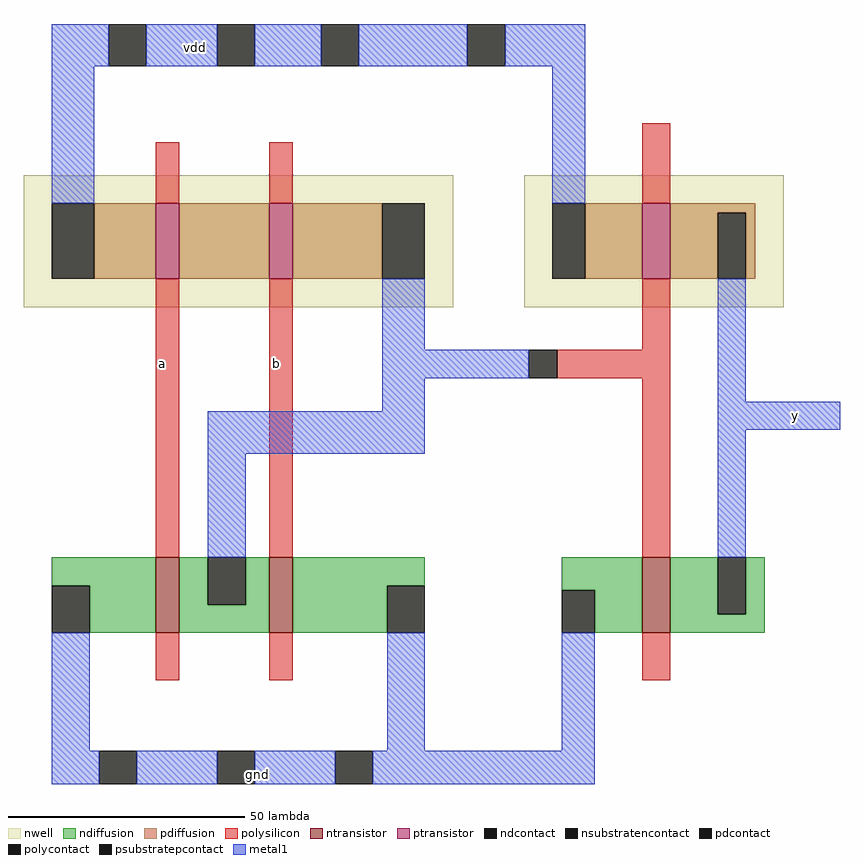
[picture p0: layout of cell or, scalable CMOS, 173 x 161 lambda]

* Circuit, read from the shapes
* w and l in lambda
.subckt or a b gnd vdd y
M1 n1 a gnd gnd nfet w=16 l=5
M2 gnd b n1 gnd nfet w=16 l=5
M3 y n1 gnd gnd nfet w=16 l=6
M4 n2 a vdd n3 pfet w=16 l=5
M5 n1 b n2 n3 pfet w=16 l=5
M6 y n1 vdd n4 pfet w=16 l=6
.ends

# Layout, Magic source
magic
tech scmos
<< nwell >>
rect -48 101 43 129
rect 58 101 113 129
<< ntransistor >>
rect -20 32 -15 48
rect 4 32 9 48
rect 83 32 89 48
<< ptransistor >>
rect -20 107 -15 123
rect 4 107 9 123
rect 83 107 89 123
<< ndiffusion >>
rect -42 42 -20 48
rect -34 32 -20 42
rect -15 38 -9 48
rect -1 38 4 48
rect -15 32 4 38
rect 9 42 37 48
rect 9 32 29 42
rect 66 41 83 48
rect 73 32 83 41
rect 89 36 99 48
rect 105 36 109 48
rect 89 32 109 36
<< pdiffusion >>
rect -33 107 -20 123
rect -15 107 4 123
rect 9 107 28 123
rect 71 107 83 123
rect 89 121 107 123
rect 89 107 99 121
rect 105 107 107 121
<< ndcontact >>
rect -42 32 -34 42
rect -9 38 -1 48
rect 29 32 37 42
rect 66 32 73 41
rect 99 36 105 48
<< pdcontact >>
rect -42 107 -33 123
rect 28 107 37 123
rect 64 107 71 123
rect 99 107 105 121
<< psubstratepcontact >>
rect -32 0 -24 7
rect -7 0 1 7
rect 18 0 26 7
<< nsubstratencontact >>
rect -30 152 -22 161
rect -7 152 1 161
rect 15 152 23 161
rect 46 152 54 161
<< polysilicon >>
rect -20 123 -15 136
rect 4 123 9 136
rect 83 123 89 140
rect -20 48 -15 107
rect 4 48 9 107
rect 83 92 89 107
rect 65 86 89 92
rect 83 48 89 86
rect -20 22 -15 32
rect 4 22 9 32
rect 83 22 89 32
<< polycontact >>
rect 59 86 65 92
<< metal1 >>
rect -42 152 -30 161
rect -22 152 -7 161
rect 1 152 15 161
rect 23 152 46 161
rect 54 152 71 161
rect -42 123 -33 152
rect 64 123 71 152
rect 28 92 37 107
rect 28 86 59 92
rect 28 79 37 86
rect -9 70 37 79
rect 99 81 105 107
rect 99 75 125 81
rect -9 48 -1 70
rect 99 48 105 75
rect -42 7 -34 32
rect 29 7 37 32
rect 66 7 73 32
rect -42 0 -32 7
rect -24 0 -7 7
rect 1 0 18 7
rect 26 0 73 7
<< labels >>
rlabel metal1 -12 155 -11 157 5 vdd
rlabel metal1 1 1 2 3 1 gnd
rlabel polysilicon -19 88 -18 90 1 a
rlabel polysilicon 5 88 6 90 1 b
rlabel metal1 115 77 116 79 1 y
<< end >>
